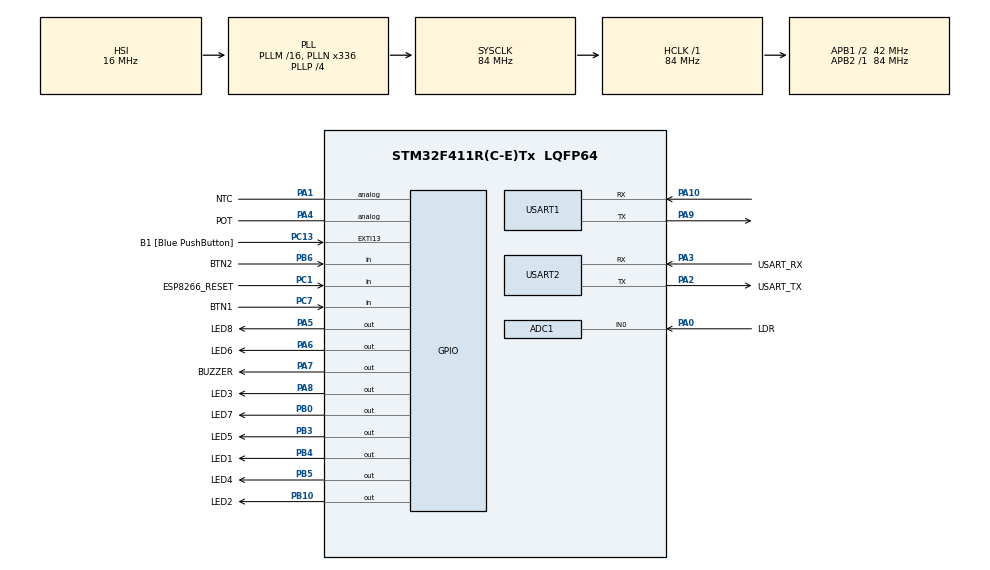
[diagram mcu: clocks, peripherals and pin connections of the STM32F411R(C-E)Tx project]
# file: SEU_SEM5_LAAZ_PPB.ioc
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ADC1.Channel-4\#ChannelRegularConversion=ADC_CHANNEL_0
ADC1.NbrOfConversionFlag=1
ADC1.Rank-4\#ChannelRegularConversion=1
ADC1.SamplingTime-4\#ChannelRegularConversion=ADC_SAMPLETIME_3CYCLES
ADC1.master=1
Dma.Request0=USART1_RX
Dma.Request1=USART1_TX
Dma.USART1_RX.0.Direction=DMA_PERIPH_TO_MEMORY
Dma.USART1_RX.0.FIFOMode=DMA_FIFOMODE_DISABLE
Dma.USART1_RX.0.Instance=DMA2_Stream2
Dma.USART1_RX.0.MemDataAlignment=DMA_MDATAALIGN_BYTE
Dma.USART1_RX.0.MemInc=DMA_MINC_ENABLE
Dma.USART1_RX.0.Mode=DMA_NORMAL
Dma.USART1_RX.0.PeriphDataAlignment=DMA_PDATAALIGN_BYTE
Dma.USART1_RX.0.PeriphInc=DMA_PINC_DISABLE
Dma.USART1_RX.0.Priority=DMA_PRIORITY_HIGH
Dma.USART1_TX.1.Direction=DMA_MEMORY_TO_PERIPH
Dma.USART1_TX.1.FIFOMode=DMA_FIFOMODE_DISABLE
Dma.USART1_TX.1.Instance=DMA2_Stream7
Dma.USART1_TX.1.MemDataAlignment=DMA_MDATAALIGN_BYTE
Dma.USART1_TX.1.MemInc=DMA_MINC_ENABLE
Dma.USART1_TX.1.Mode=DMA_NORMAL
Dma.USART1_TX.1.PeriphDataAlignment=DMA_PDATAALIGN_BYTE
Dma.USART1_TX.1.PeriphInc=DMA_PINC_DISABLE
Dma.USART1_TX.1.Priority=DMA_PRIORITY_HIGH
Mcu.Family=STM32F4
Mcu.Name=STM32F411R(C-E)Tx
Mcu.Package=LQFP64
NVIC.DMA2_Stream2_IRQn=true\:0\:0\:false\:false\:true\:false\:true\:true
NVIC.DMA2_Stream7_IRQn=true\:0\:0\:false\:false\:true\:false\:true\:true
NVIC.PriorityGroup=NVIC_PRIORITYGROUP_0
PA0-WKUP.GPIO_Label=LDR
PA0-WKUP.Signal=SharedAnalog_PA0
PA1.GPIO_Label=NTC
PA1.Signal=GPIO_Analog
PA10.Mode=Asynchronous
PA10.Signal=USART1_RX
PA13.GPIO_Label=TMS
PA13.Mode=Serial_Wire
PA13.Signal=SYS_JTMS-SWDIO
PA14.GPIO_Label=TCK
PA14.Mode=Serial_Wire
PA14.Signal=SYS_JTCK-SWCLK
PA2.GPIO_Label=USART_TX
PA2.Mode=Asynchronous
PA2.Signal=USART2_TX
PA3.GPIO_Label=USART_RX
PA3.Mode=Asynchronous
PA3.Signal=USART2_RX
PA4.GPIO_Label=POT
PA4.Signal=GPIO_Analog
PA5.GPIO_Label=LED8
PA5.Signal=GPIO_Output
PA6.GPIO_Label=LED6
PA6.Signal=GPIO_Output
PA7.GPIO_Label=BUZZER
PA7.Signal=GPIO_Output
PA8.GPIO_Label=LED3
PA8.Signal=GPIO_Output
PA9.Mode=Asynchronous
PA9.Signal=USART1_TX
PB0.GPIO_Label=LED7
PB0.Signal=GPIO_Output
PB10.GPIO_Label=LED2
PB10.Signal=GPIO_Output
PB3.GPIO_Label=LED5
PB3.Signal=GPIO_Output
PB4.GPIO_Label=LED1
PB4.Signal=GPIO_Output
PB5.GPIO_Label=LED4
PB5.Signal=GPIO_Output
PB6.GPIO_Label=BTN2
PB6.GPIO_PuPd=GPIO_PULLUP
PB6.Signal=GPIO_Input
PC1.GPIO_Label=ESP8266_RESET
PC1.GPIO_PuPd=GPIO_PULLUP
PC1.Signal=GPIO_Input
PC13-ANTI_TAMP.GPIO_Label=B1 [Blue PushButton]
PC13-ANTI_TAMP.GPIO_ModeDefaultEXTI=GPIO_MODE_IT_FALLING
PC13-ANTI_TAMP.Signal=GPXTI13
PC14-OSC32_IN.Mode=LSE-External-Oscillator
PC14-OSC32_IN.Signal=RCC_OSC32_IN
PC15-OSC32_OUT.Mode=LSE-External-Oscillator
PC15-OSC32_OUT.Signal=RCC_OSC32_OUT
PC7.GPIO_Label=BTN1
PC7.GPIO_PuPd=GPIO_PULLUP
PC7.Signal=GPIO_Input
PH0\ -\ OSC_IN.Mode=HSE-External-Clock-Source
PH0\ -\ OSC_IN.Signal=RCC_OSC_IN
PH1\ -\ OSC_OUT.Mode=HSE-External-Clock-Source
PH1\ -\ OSC_OUT.Signal=RCC_OSC_OUT
ProjectManager.HeapSize=0x200
ProjectManager.StackSize=0x400
ProjectManager.TargetToolchain=STM32CubeIDE
RCC.48MHZClocksFreq_Value=84000000
RCC.AHBFreq_Value=84000000
RCC.APB1CLKDivider=RCC_HCLK_DIV2
RCC.APB1Freq_Value=42000000
RCC.APB1TimFreq_Value=84000000
RCC.APB2Freq_Value=84000000
RCC.APB2TimFreq_Value=84000000
RCC.CortexFreq_Value=84000000
RCC.FLatency-AdvancedSettings=FLASH_LATENCY_2
RCC.HCLKFreq_Value=84000000
RCC.HSE_VALUE=8000000
RCC.HSI_VALUE=16000000
RCC.PLLN=336
RCC.PLLP=RCC_PLLP_DIV4
RCC.SYSCLKFreq_VALUE=84000000
RCC.SYSCLKSource=RCC_SYSCLKSOURCE_PLLCLK
RCC.VCOOutputFreq_Value=336000000
SH.SharedAnalog_PA0.0=GPIO_Analog
SH.SharedAnalog_PA0.1=ADC1_IN0,IN0
USART1.VirtualMode=VM_ASYNC
USART2.VirtualMode=VM_ASYNC
board=NUCLEO-F411RE

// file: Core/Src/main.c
/* USER CODE BEGIN Header */
/**
  ******************************************************************************
  * @file           : main.c
  * @brief          : Main program body
  ******************************************************************************
  * @attention
  *
  * Copyright (c) 2023 STMicroelectronics.
  * All rights reserved.
  *
  * This software is licensed under terms that can be found in the LICENSE file
  * in the root directory of this software component.
  * If no LICENSE file comes with this software, it is provided AS-IS.
  *
  ******************************************************************************
  */
/* USER CODE END Header */
#include "main.h"

/* USER CODE BEGIN Includes */
#include <stdio.h>
#include <HW.h>
#include <stdint.h>
#include <stdbool.h>

/* USER CODE END Includes */

ADC_HandleTypeDef hadc1;

UART_HandleTypeDef huart1;
UART_HandleTypeDef huart2;
DMA_HandleTypeDef hdma_usart1_rx;
DMA_HandleTypeDef hdma_usart1_tx;

/* USER CODE BEGIN PV */
char buff_recv[2048];

/* USER CODE END PV */

void SystemClock_Config(void);
static void MX_GPIO_Init(void);
static void MX_DMA_Init(void);
static void MX_USART2_UART_Init(void);
static void MX_ADC1_Init(void);
static void MX_USART1_UART_Init(void);

/* USER CODE BEGIN 0 */
int _write(int file, char *ptr, int len){
    int DataIdx;
    for (DataIdx = 0; DataIdx < len; DataIdx++){
   	 HAL_UART_Transmit(&huart2, (uint8_t*)ptr++,1,1000);
    }
    return len;
}

/* USER CODE END 0 */

int main(void)
{

  /* MCU Configuration--------------------------------------------------------*/

  /* Reset of all peripherals, Initializes the Flash interface and the Systick. */
  HAL_Init();

  /* Configure the system clock */
  SystemClock_Config();

  /* Initialize all configured peripherals */
  MX_GPIO_Init();
  MX_DMA_Init();
  MX_USART2_UART_Init();
  MX_ADC1_Init();
  MX_USART1_UART_Init();
  /* USER CODE BEGIN 2 */
  printf("PROJ %s DATE  %s \r\n","Entregable LAAZ",__TIME__);
  /* USER CODE END 2 */

  /* Infinite loop */
  /* USER CODE BEGIN WHILE */

  GPIO_PinState bt1;
  bool bt1_lock = true;
  GPIO_PinState bt2;
  bool bt2_lock = true;
  int state = GPIO_PIN_SET;

  float (*valores[2])();
  valores[0] = &Valor_lum;
  valores[1] = &Valor_temp;
  int v_index= 0;
  while (1)
  {
	   bt1 = HAL_GPIO_ReadPin(BTN1_GPIO_Port, BTN1_Pin);
	 	  if(bt1==GPIO_PIN_RESET && bt1_lock){
	 		  	printf("Boton1 Cambiando al anterior modo \r\n");
	 		  	if(v_index-1>0)v_index=2;
	 		  	else v_index=(v_index-1)%2;
	 		  	bt1_lock=false;
	 	  }
	 	  else if (bt1==GPIO_PIN_SET){
	 		  bt1_lock=true;
	 	  }

	 	  bt2 = HAL_GPIO_ReadPin(BTN2_GPIO_Port, BTN2_Pin);
	 	  if(bt2==GPIO_PIN_RESET && bt2_lock){
	 			printf("Boton2 pulsado cambiando al siguiente modo \r\n");
	 			v_index=(v_index+1)%2;
	 			bt2_lock=false;
	 	  }
	 	  else if (bt2==GPIO_PIN_SET){
	 		  bt2_lock=true;
	 	  }

	  put_leds(valores[v_index]());

	  pot_led_threshold(Valor_pot(),state);
	  state = !state;
	  {int c; for(c=0;c<1000000;c++);}
    /* USER CODE END WHILE */

  }
}

void SystemClock_Config(void)
{
  RCC_OscInitTypeDef RCC_OscInitStruct = {0};
  RCC_ClkInitTypeDef RCC_ClkInitStruct = {0};

  /** Configure the main internal regulator output voltage
  */
  __HAL_RCC_PWR_CLK_ENABLE();
  __HAL_PWR_VOLTAGESCALING_CONFIG(PWR_REGULATOR_VOLTAGE_SCALE1);

  /** Initializes the RCC Oscillators according to the specified parameters
  * in the RCC_OscInitTypeDef structure.
  */
  RCC_OscInitStruct.OscillatorType = RCC_OSCILLATORTYPE_HSI;
  RCC_OscInitStruct.HSIState = RCC_HSI_ON;
  RCC_OscInitStruct.HSICalibrationValue = RCC_HSICALIBRATION_DEFAULT;
  RCC_OscInitStruct.PLL.PLLState = RCC_PLL_ON;
  RCC_OscInitStruct.PLL.PLLSource = RCC_PLLSOURCE_HSI;
  RCC_OscInitStruct.PLL.PLLM = 16;
  RCC_OscInitStruct.PLL.PLLN = 336;
  RCC_OscInitStruct.PLL.PLLP = RCC_PLLP_DIV4;
  RCC_OscInitStruct.PLL.PLLQ = 4;
  if (HAL_RCC_OscConfig(&RCC_OscInitStruct) != HAL_OK)
  {
    Error_Handler();
  }

  /** Initializes the CPU, AHB and APB buses clocks
  */
  RCC_ClkInitStruct.ClockType = RCC_CLOCKTYPE_HCLK|RCC_CLOCKTYPE_SYSCLK
                              |RCC_CLOCKTYPE_PCLK1|RCC_CLOCKTYPE_PCLK2;
  RCC_ClkInitStruct.SYSCLKSource = RCC_SYSCLKSOURCE_PLLCLK;
  RCC_ClkInitStruct.AHBCLKDivider = RCC_SYSCLK_DIV1;
  RCC_ClkInitStruct.APB1CLKDivider = RCC_HCLK_DIV2;
  RCC_ClkInitStruct.APB2CLKDivider = RCC_HCLK_DIV1;

  if (HAL_RCC_ClockConfig(&RCC_ClkInitStruct, FLASH_LATENCY_2) != HAL_OK)
  {
    Error_Handler();
  }
}

static void MX_ADC1_Init(void)
{

  ADC_ChannelConfTypeDef sConfig = {0};

  /** Configure the global features of the ADC (Clock, Resolution, Data Alignment and number of conversion)
  */
  hadc1.Instance = ADC1;
  hadc1.Init.ClockPrescaler = ADC_CLOCK_SYNC_PCLK_DIV4;
  hadc1.Init.Resolution = ADC_RESOLUTION_12B;
  hadc1.Init.ScanConvMode = DISABLE;
  hadc1.Init.ContinuousConvMode = DISABLE;
  hadc1.Init.DiscontinuousConvMode = DISABLE;
  hadc1.Init.ExternalTrigConvEdge = ADC_EXTERNALTRIGCONVEDGE_NONE;
  hadc1.Init.ExternalTrigConv = ADC_SOFTWARE_START;
  hadc1.Init.DataAlign = ADC_DATAALIGN_RIGHT;
  hadc1.Init.NbrOfConversion = 1;
  hadc1.Init.DMAContinuousRequests = DISABLE;
  hadc1.Init.EOCSelection = ADC_EOC_SINGLE_CONV;
  if (HAL_ADC_Init(&hadc1) != HAL_OK)
  {
    Error_Handler();
  }

  /** Configure for the selected ADC regular channel its corresponding rank in the sequencer and its sample time.
  */
  sConfig.Channel = ADC_CHANNEL_0;
  sConfig.Rank = 1;
  sConfig.SamplingTime = ADC_SAMPLETIME_3CYCLES;
  if (HAL_ADC_ConfigChannel(&hadc1, &sConfig) != HAL_OK)
  {
    Error_Handler();
  }

}

static void MX_USART1_UART_Init(void)
{

  huart1.Instance = USART1;
  huart1.Init.BaudRate = 115200;
  huart1.Init.WordLength = UART_WORDLENGTH_8B;
  huart1.Init.StopBits = UART_STOPBITS_1;
  huart1.Init.Parity = UART_PARITY_NONE;
  huart1.Init.Mode = UART_MODE_TX_RX;
  huart1.Init.HwFlowCtl = UART_HWCONTROL_NONE;
  huart1.Init.OverSampling = UART_OVERSAMPLING_16;
  if (HAL_UART_Init(&huart1) != HAL_OK)
  {
    Error_Handler();
  }

}

static void MX_USART2_UART_Init(void)
{

  huart2.Instance = USART2;
  huart2.Init.BaudRate = 115200;
  huart2.Init.WordLength = UART_WORDLENGTH_8B;
  huart2.Init.StopBits = UART_STOPBITS_1;
  huart2.Init.Parity = UART_PARITY_NONE;
  huart2.Init.Mode = UART_MODE_TX_RX;
  huart2.Init.HwFlowCtl = UART_HWCONTROL_NONE;
  huart2.Init.OverSampling = UART_OVERSAMPLING_16;
  if (HAL_UART_Init(&huart2) != HAL_OK)
  {
    Error_Handler();
  }

}

static void MX_DMA_Init(void)
{

  /* DMA controller clock enable */
  __HAL_RCC_DMA2_CLK_ENABLE();

  /* DMA interrupt init */
  /* DMA2_Stream2_IRQn interrupt configuration */
  HAL_NVIC_SetPriority(DMA2_Stream2_IRQn, 0, 0);
  HAL_NVIC_EnableIRQ(DMA2_Stream2_IRQn);
  /* DMA2_Stream7_IRQn interrupt configuration */
  HAL_NVIC_SetPriority(DMA2_Stream7_IRQn, 0, 0);
  HAL_NVIC_EnableIRQ(DMA2_Stream7_IRQn);

}

static void MX_GPIO_Init(void)
{
  GPIO_InitTypeDef GPIO_InitStruct = {0};

  /* GPIO Ports Clock Enable */
  __HAL_RCC_GPIOC_CLK_ENABLE();
  __HAL_RCC_GPIOH_CLK_ENABLE();
  __HAL_RCC_GPIOA_CLK_ENABLE();
  __HAL_RCC_GPIOB_CLK_ENABLE();

  /*Configure GPIO pin Output Level */
  HAL_GPIO_WritePin(GPIOA, LED8_Pin|LED6_Pin|BUZZER_Pin|LED3_Pin, GPIO_PIN_RESET);

  /*Configure GPIO pin Output Level */
  HAL_GPIO_WritePin(GPIOB, LED7_Pin|LED2_Pin|LED5_Pin|LED1_Pin
                          |LED4_Pin, GPIO_PIN_RESET);

  /*Configure GPIO pin : B1_Pin */
  GPIO_InitStruct.Pin = B1_Pin;
  GPIO_InitStruct.Mode = GPIO_MODE_IT_FALLING;
  GPIO_InitStruct.Pull = GPIO_NOPULL;
  HAL_GPIO_Init(B1_GPIO_Port, &GPIO_InitStruct);

  /*Configure GPIO pins : ESP8266_RESET_Pin BTN1_Pin */
  GPIO_InitStruct.Pin = ESP8266_RESET_Pin|BTN1_Pin;
  GPIO_InitStruct.Mode = GPIO_MODE_INPUT;
  GPIO_InitStruct.Pull = GPIO_PULLUP;
  HAL_GPIO_Init(GPIOC, &GPIO_InitStruct);

  /*Configure GPIO pins : NTC_Pin POT_Pin */
  GPIO_InitStruct.Pin = NTC_Pin|POT_Pin;
  GPIO_InitStruct.Mode = GPIO_MODE_ANALOG;
  GPIO_InitStruct.Pull = GPIO_NOPULL;
  HAL_GPIO_Init(GPIOA, &GPIO_InitStruct);

  /*Configure GPIO pins : LED8_Pin LED6_Pin BUZZER_Pin LED3_Pin */
  GPIO_InitStruct.Pin = LED8_Pin|LED6_Pin|BUZZER_Pin|LED3_Pin;
  GPIO_InitStruct.Mode = GPIO_MODE_OUTPUT_PP;
  GPIO_InitStruct.Pull = GPIO_NOPULL;
  GPIO_InitStruct.Speed = GPIO_SPEED_FREQ_LOW;
  HAL_GPIO_Init(GPIOA, &GPIO_InitStruct);

  /*Configure GPIO pins : LED7_Pin LED2_Pin LED5_Pin LED1_Pin
                           LED4_Pin */
  GPIO_InitStruct.Pin = LED7_Pin|LED2_Pin|LED5_Pin|LED1_Pin
                          |LED4_Pin;
  GPIO_InitStruct.Mode = GPIO_MODE_OUTPUT_PP;
  GPIO_InitStruct.Pull = GPIO_NOPULL;
  GPIO_InitStruct.Speed = GPIO_SPEED_FREQ_LOW;
  HAL_GPIO_Init(GPIOB, &GPIO_InitStruct);

  /*Configure GPIO pin : BTN2_Pin */
  GPIO_InitStruct.Pin = BTN2_Pin;
  GPIO_InitStruct.Mode = GPIO_MODE_INPUT;
  GPIO_InitStruct.Pull = GPIO_PULLUP;
  HAL_GPIO_Init(BTN2_GPIO_Port, &GPIO_InitStruct);

}

void Error_Handler(void)
{
  __disable_irq();
  while (1)
  {
  }
}
